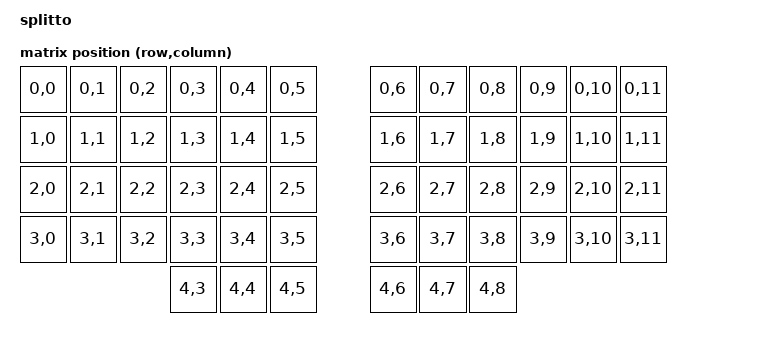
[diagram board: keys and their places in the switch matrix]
/*
*
* Copyright (c) 2023 The ZMK Contributors
* SPDX-License-Identifier: MIT
*
*/

/dts-v1/;
#include <nordic/nrf52840_qiaa.dtsi>

#include <dt-bindings/led/led.h>
#include <dt-bindings/zmk/matrix_transform.h>

#include "splitto-pinctrl.dtsi"

/ {
    model = "splitto";

    chosen {
        zephyr,code-partition = &code_partition;
        zephyr,sram = &sram0;
        zephyr,flash = &flash0;

        zephyr,boot-mode = &adafruit_boot_retention;

        zmk,kscan = &kscan0;
        zmk,matrix-transform = &default_transform;
        zmk,battery = &vbatt;
        zmk,underglow = &led_strip;
    };

    default_transform: keymap_transform_0 {
        compatible = "zmk,matrix-transform";
        columns = <12>;
        rows = <5>;

        map = <
            RC(0,0)   RC(0,1)   RC(0,2)   RC(0,3)   RC(0,4)   RC(0,5)      RC(0,6)   RC(0,7)   RC(0,8)   RC(0,9)   RC(0,10)  RC(0,11)
            RC(1,0)   RC(1,1)   RC(1,2)   RC(1,3)   RC(1,4)   RC(1,5)      RC(1,6)   RC(1,7)   RC(1,8)   RC(1,9)   RC(1,10)  RC(1,11)
            RC(2,0)   RC(2,1)   RC(2,2)   RC(2,3)   RC(2,4)   RC(2,5)      RC(2,6)   RC(2,7)   RC(2,8)   RC(2,9)   RC(2,10)  RC(2,11)
            RC(3,0)   RC(3,1)   RC(3,2)   RC(3,3)   RC(3,4)   RC(3,5)      RC(3,6)   RC(3,7)   RC(3,8)   RC(3,9)   RC(3,10)  RC(3,11)
                                          RC(4,3)   RC(4,4)   RC(4,5)      RC(4,6)   RC(4,7)   RC(4,8)
        >;
    };

    // Node name must match original "EXT_POWER" label to preserve user settings.
    EXT_POWER {
        compatible = "zmk,ext-power-generic";
        control-gpios = <&gpio1 11 GPIO_ACTIVE_LOW>;
        init-delay-ms = <100>;
    };

    vbatt: vbatt {
        compatible = "zmk,battery-nrf-vddh";
    };

};

// &reg1 {
//     regulator-initial-mode = <NRF5X_REG_MODE_DCDC>;
// };

&adc {
    status = "okay";
};

&gpiote {
    status = "okay";
};

&gpio0 {
    status = "okay";
};

&gpio1 {
    status = "okay";
};


&gpregret1 {
    adafruit_boot_retention: retention@0 {
        compatible = "zephyr,retention";
        status = "okay";
        reg = <0x0 0x1>;
    };
};


zephyr_udc0: &usbd {
    status = "okay";
};


// LED Strip
&spi3 {
    compatible = "nordic,nrf-spim";
    status = "okay";

    pinctrl-0 = <&spi3_default>;
    pinctrl-1 = <&spi3_sleep>;
    pinctrl-names = "default", "sleep";

    led_strip: ws2812@0 {
        compatible = "worldsemi,ws2812-spi";

        /* SPI */
        reg = <0>; /* ignored, but necessary for SPI bindings */
        spi-max-frequency = <4000000>;

        /* WS2812 */
        chain-length = <27>; /* LED strip length */
        spi-one-frame = <0x70>;
        spi-zero-frame = <0x40>;
        color-mapping = <LED_COLOR_ID_GREEN LED_COLOR_ID_RED LED_COLOR_ID_BLUE>;
    };
};


&flash0 {
    /*
     * For more information, see:
     * http://docs.zephyrproject.org/latest/devices/dts/flash_partitions.html
     */
    partitions {
        compatible = "fixed-partitions";
        #address-cells = <1>;
        #size-cells = <1>;

        sd_partition: partition@0 {
            reg = <0x00000000 0x00001000>;
        };

        code_partition: partition@1000 {
            reg = <0x00001000 0x000d3000>;
        };

        /*
         * The flash starting at 0x000d4000 and ending at
         * 0x000f3fff is reserved for use by the application.
         */

        /*
         * Storage partition will be used by FCB/LittleFS/NVS
         * if enabled.
         */
        storage_partition: partition@d4000 {
            reg = <0x000d4000 0x00020000>;
        };

        boot_partition: partition@f4000 {
            reg = <0x000f4000 0x0000c000>;
        };
    };
};
